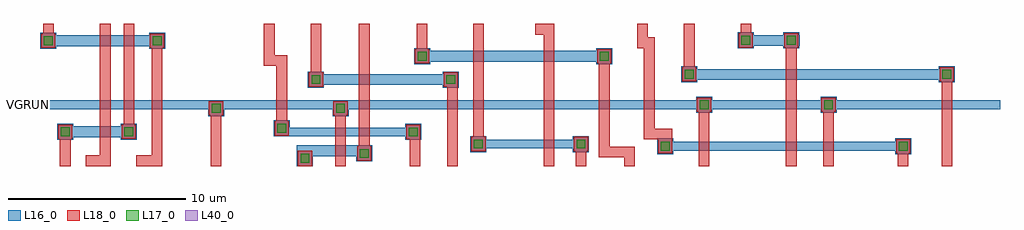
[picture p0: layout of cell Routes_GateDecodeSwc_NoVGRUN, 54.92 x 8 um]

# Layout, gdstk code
import gdstk
lib = gdstk.Library(unit=1e-6, precision=1e-09)
def R(c, l, rs):  # rectangles x0, y0, x1, y1
    for r in rs: c.add(gdstk.rectangle(r[:2], r[2:], *l))
L16_0 = (16, 0)
L17_0 = (17, 0)
L18_0 = (18, 0)
L40_0 = (40, 0)

m2_m1_cdns_759324110770 = lib.new_cell('M2_M1_CDNS_759324110770')
R(m2_m1_cdns_759324110770, L16_0, [(-0.45,-0.45,0.45,0.45)])
R(m2_m1_cdns_759324110770, L17_0, [(-0.25,-0.25,0.25,0.25)])
R(m2_m1_cdns_759324110770, L18_0, [(-0.4,-0.4,0.4,0.4)])

routes_gatedecodeswc_nov = lib.new_cell('Routes_GateDecodeSwc_NoVGRUN')
R(routes_gatedecodeswc_nov, L18_0, [(15.41,0,16.21,0.05)])
R(routes_gatedecodeswc_nov, L40_0, [(0,3.2,0.43,3.7)])
routes_gatedecodeswc_nov.add(gdstk.FlexPath([(0,3.45),(54.92,3.45)], 0.5, ends="flush", simple_path=True, layer=16, datatype=0))  # L16_0
routes_gatedecodeswc_nov.add(gdstk.FlexPath([(5.9,1.93),(2.02,1.93)], 0.6, ends="flush", simple_path=True, layer=16, datatype=0))  # L16_0
routes_gatedecodeswc_nov.add(gdstk.FlexPath([(1.37,7.05),(7.49,7.05)], 0.6, ends="flush", simple_path=True, layer=16, datatype=0))  # L16_0
routes_gatedecodeswc_nov.add(gdstk.FlexPath([(14.5,2.12),(14.5,1.92)], 0.9, ends=(0, 0.25), simple_path=True, layer=16, datatype=0))  # L16_0
routes_gatedecodeswc_nov.add(gdstk.FlexPath([(14.5,1.92),(22.16,1.92)], 0.5, ends=(0.45, 0), simple_path=True, layer=16, datatype=0))  # L16_0
routes_gatedecodeswc_nov.add(gdstk.FlexPath([(19.15,0.86),(15.36,0.86)], 0.6, ends="flush", simple_path=True, layer=16, datatype=0))  # L16_0
routes_gatedecodeswc_nov.add(gdstk.FlexPath([(16.43,4.87),(23.97,4.87)], 0.6, ends="flush", simple_path=True, layer=16, datatype=0))  # L16_0
routes_gatedecodeswc_nov.add(gdstk.FlexPath([(22.4,6.18),(32.95,6.18)], 0.6, ends="flush", simple_path=True, layer=16, datatype=0))  # L16_0
routes_gatedecodeswc_nov.add(gdstk.FlexPath([(25.57,1.24),(31.34,1.24)], 0.5, ends="flush", simple_path=True, layer=16, datatype=0))  # L16_0
routes_gatedecodeswc_nov.add(gdstk.FlexPath([(40.62,7.07),(43.64,7.07)], 0.6, ends="flush", simple_path=True, layer=16, datatype=0))  # L16_0
routes_gatedecodeswc_nov.add(gdstk.FlexPath([(49.47,1.11),(36.09,1.11)], 0.5, ends="flush", simple_path=True, layer=16, datatype=0))  # L16_0
routes_gatedecodeswc_nov.add(gdstk.FlexPath([(37.43,5.16),(51.93,5.16)], 0.6, ends="flush", simple_path=True, layer=16, datatype=0))  # L16_0
routes_gatedecodeswc_nov.add(gdstk.FlexPath([(10.81,0),(10.81,3.45)], 0.6, ends="flush", simple_path=True, layer=18, datatype=0))  # L18_0
routes_gatedecodeswc_nov.add(gdstk.FlexPath([(17.81,0),(17.81,3.45)], 0.6, ends="flush", simple_path=True, layer=18, datatype=0))  # L18_0
routes_gatedecodeswc_nov.add(gdstk.FlexPath([(38.27,0),(38.27,3.45)], 0.6, ends="flush", simple_path=True, layer=18, datatype=0))  # L18_0
routes_gatedecodeswc_nov.add(gdstk.FlexPath([(45.27,0),(45.27,3.45)], 0.6, ends="flush", simple_path=True, layer=18, datatype=0))  # L18_0
routes_gatedecodeswc_nov.add(gdstk.FlexPath([(34.8,6.94),(35.18,6.94)], 0.6, ends="extended", simple_path=True, layer=18, datatype=0))  # L18_0
routes_gatedecodeswc_nov.add(gdstk.FlexPath([(35.18,1.81),(36.49,1.81)], 0.6, ends=(0.3, 0), simple_path=True, layer=18, datatype=0))  # L18_0
routes_gatedecodeswc_nov.add(gdstk.FlexPath([(13.8,8),(13.8,5.94)], 0.6, ends=(0, 0.3), simple_path=True, layer=18, datatype=0))  # L18_0
routes_gatedecodeswc_nov.add(gdstk.FlexPath([(13.8,5.94),(14.5,5.94)], 0.6, ends="extended", simple_path=True, layer=18, datatype=0))  # L18_0
routes_gatedecodeswc_nov.add(gdstk.FlexPath([(4.57,0.3),(3.47,0.3)], 0.6, ends=(0.3, 0), simple_path=True, layer=18, datatype=0))  # L18_0
routes_gatedecodeswc_nov.add(gdstk.FlexPath([(16.43,8),(16.43,4.96)], 0.6, ends="flush", simple_path=True, layer=18, datatype=0))  # L18_0
routes_gatedecodeswc_nov.add(gdstk.FlexPath([(14.5,5.94),(14.5,2.11)], 0.6, ends=(0.3, 0), simple_path=True, layer=18, datatype=0))  # L18_0
routes_gatedecodeswc_nov.add(gdstk.FlexPath([(5.9,8),(5.9,2.33)], 0.6, ends="flush", simple_path=True, layer=18, datatype=0))  # L18_0
routes_gatedecodeswc_nov.add(gdstk.FlexPath([(4.57,8),(4.57,0.3)], 0.6, ends=(0, 0.3), simple_path=True, layer=18, datatype=0))  # L18_0
routes_gatedecodeswc_nov.add(gdstk.FlexPath([(2.32,2.33),(2.32,0)], 0.6, ends="flush", simple_path=True, layer=18, datatype=0))  # L18_0
routes_gatedecodeswc_nov.add(gdstk.FlexPath([(1.37,8),(1.37,6.66)], 0.6, ends="flush", simple_path=True, layer=18, datatype=0))  # L18_0
routes_gatedecodeswc_nov.add(gdstk.FlexPath([(7.49,7.05),(7.49,0.3)], 0.6, ends=(0, 0.3), simple_path=True, layer=18, datatype=0))  # L18_0
routes_gatedecodeswc_nov.add(gdstk.FlexPath([(7.49,0.3),(6.31,0.3)], 0.6, ends=(0.3, 0), simple_path=True, layer=18, datatype=0))  # L18_0
routes_gatedecodeswc_nov.add(gdstk.FlexPath([(22.01,1.92),(22.01,0)], 0.6, ends="flush", simple_path=True, layer=18, datatype=0))  # L18_0
routes_gatedecodeswc_nov.add(gdstk.FlexPath([(19.15,8),(19.15,0.56)], 0.6, ends="flush", simple_path=True, layer=18, datatype=0))  # L18_0
routes_gatedecodeswc_nov.add(gdstk.FlexPath([(24.11,5.26),(24.11,0)], 0.6, ends="flush", simple_path=True, layer=18, datatype=0))  # L18_0
routes_gatedecodeswc_nov.add(gdstk.FlexPath([(22.4,8),(22.4,6.18)], 0.6, ends="flush", simple_path=True, layer=18, datatype=0))  # L18_0
routes_gatedecodeswc_nov.add(gdstk.FlexPath([(29.54,7.7),(29.54,0)], 0.6, ends=(0.3, 0), simple_path=True, layer=18, datatype=0))  # L18_0
routes_gatedecodeswc_nov.add(gdstk.FlexPath([(25.57,8),(25.57,1.24)], 0.6, ends="flush", simple_path=True, layer=18, datatype=0))  # L18_0
routes_gatedecodeswc_nov.add(gdstk.FlexPath([(31.34,1.24),(31.34,0)], 0.6, ends="flush", simple_path=True, layer=18, datatype=0))  # L18_0
routes_gatedecodeswc_nov.add(gdstk.FlexPath([(40.62,8),(40.62,7.07)], 0.6, ends="flush", simple_path=True, layer=18, datatype=0))  # L18_0
routes_gatedecodeswc_nov.add(gdstk.FlexPath([(43.17,7.07),(43.17,0)], 0.6, ends="flush", simple_path=True, layer=18, datatype=0))  # L18_0
routes_gatedecodeswc_nov.add(gdstk.FlexPath([(49.47,0),(49.47,1.11)], 0.6, ends="flush", simple_path=True, layer=18, datatype=0))  # L18_0
routes_gatedecodeswc_nov.add(gdstk.FlexPath([(35.18,6.94),(35.18,1.81)], 0.6, ends="extended", simple_path=True, layer=18, datatype=0))  # L18_0
routes_gatedecodeswc_nov.add(gdstk.FlexPath([(34.8,8),(34.8,6.94)], 0.6, ends=(0, 0.3), simple_path=True, layer=18, datatype=0))  # L18_0
routes_gatedecodeswc_nov.add(gdstk.FlexPath([(28.77,7.7),(29.54,7.7)], 0.6, ends=(0, 0.3), simple_path=True, layer=18, datatype=0))  # L18_0
routes_gatedecodeswc_nov.add(gdstk.FlexPath([(34.07,0.8),(34.07,0)], 0.6, ends=(0.3, 0), simple_path=True, layer=18, datatype=0))  # L18_0
routes_gatedecodeswc_nov.add(gdstk.FlexPath([(32.65,6.18),(32.65,0.8)], 0.6, ends=(0, 0.3), simple_path=True, layer=18, datatype=0))  # L18_0
routes_gatedecodeswc_nov.add(gdstk.FlexPath([(32.65,0.8),(34.07,0.8)], 0.6, ends="extended", simple_path=True, layer=18, datatype=0))  # L18_0
routes_gatedecodeswc_nov.add(gdstk.FlexPath([(37.43,8),(37.43,5.16)], 0.6, ends="flush", simple_path=True, layer=18, datatype=0))  # L18_0
routes_gatedecodeswc_nov.add(gdstk.FlexPath([(51.93,5.16),(51.93,0)], 0.6, ends="flush", simple_path=True, layer=18, datatype=0))  # L18_0
routes_gatedecodeswc_nov.add(gdstk.Reference(m2_m1_cdns_759324110770, (51.93,5.16)))
routes_gatedecodeswc_nov.add(gdstk.Reference(m2_m1_cdns_759324110770, (37.43,5.16)))
routes_gatedecodeswc_nov.add(gdstk.Reference(m2_m1_cdns_759324110770, (36.09,1.11)))
routes_gatedecodeswc_nov.add(gdstk.Reference(m2_m1_cdns_759324110770, (49.47,1.11)))
routes_gatedecodeswc_nov.add(gdstk.Reference(m2_m1_cdns_759324110770, (43.17,7.07)))
routes_gatedecodeswc_nov.add(gdstk.Reference(m2_m1_cdns_759324110770, (40.62,7.07)))
routes_gatedecodeswc_nov.add(gdstk.Reference(m2_m1_cdns_759324110770, (45.27,3.45)))
routes_gatedecodeswc_nov.add(gdstk.Reference(m2_m1_cdns_759324110770, (38.27,3.45)))
routes_gatedecodeswc_nov.add(gdstk.Reference(m2_m1_cdns_759324110770, (31.34,1.24)))
routes_gatedecodeswc_nov.add(gdstk.Reference(m2_m1_cdns_759324110770, (25.57,1.24)))
routes_gatedecodeswc_nov.add(gdstk.Reference(m2_m1_cdns_759324110770, (32.65,6.18)))
routes_gatedecodeswc_nov.add(gdstk.Reference(m2_m1_cdns_759324110770, (22.4,6.18)))
routes_gatedecodeswc_nov.add(gdstk.Reference(m2_m1_cdns_759324110770, (24.01,4.87)))
routes_gatedecodeswc_nov.add(gdstk.Reference(m2_m1_cdns_759324110770, (16.43,4.87)))
routes_gatedecodeswc_nov.add(gdstk.Reference(m2_m1_cdns_759324110770, (15.81,0.45)))
routes_gatedecodeswc_nov.add(gdstk.Reference(m2_m1_cdns_759324110770, (19.15,0.71)))
routes_gatedecodeswc_nov.add(gdstk.Reference(m2_m1_cdns_759324110770, (14.5,2.12)))
routes_gatedecodeswc_nov.add(gdstk.Reference(m2_m1_cdns_759324110770, (21.91,1.92)))
routes_gatedecodeswc_nov.add(gdstk.Reference(m2_m1_cdns_759324110770, (17.81,3.25)))
routes_gatedecodeswc_nov.add(gdstk.Reference(m2_m1_cdns_759324110770, (10.81,3.25)))
routes_gatedecodeswc_nov.add(gdstk.Reference(m2_m1_cdns_759324110770, (5.9,1.93)))
routes_gatedecodeswc_nov.add(gdstk.Reference(m2_m1_cdns_759324110770, (2.32,1.93)))
routes_gatedecodeswc_nov.add(gdstk.Reference(m2_m1_cdns_759324110770, (1.37,7.05)))
routes_gatedecodeswc_nov.add(gdstk.Reference(m2_m1_cdns_759324110770, (7.49,7.05)))
routes_gatedecodeswc_nov.add(gdstk.Label('VGRUN', (0.25,3.45), layer=40, texttype=0))

lib.write_gds('Routes_GateDecodeSwc_NoVGRUN.gds')
